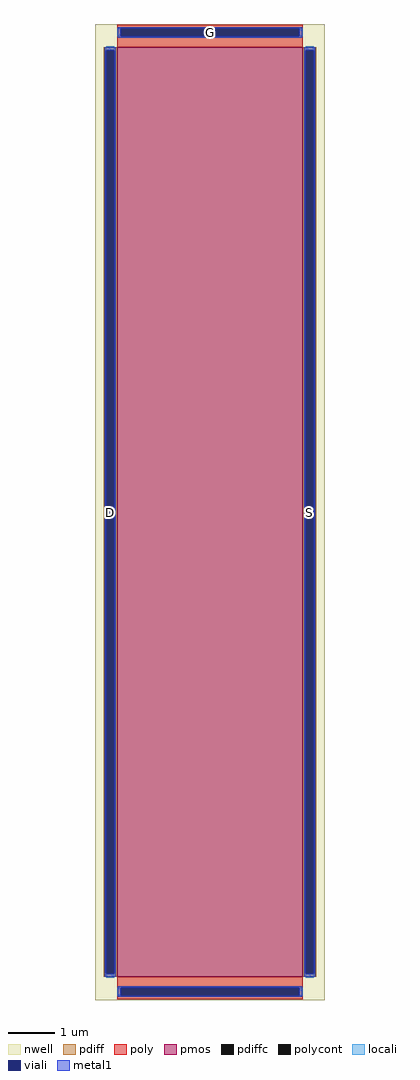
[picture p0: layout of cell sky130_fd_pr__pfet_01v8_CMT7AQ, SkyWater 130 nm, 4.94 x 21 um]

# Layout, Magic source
magic
tech sky130A
magscale 1 2
<< nwell >>
rect -494 -2100 494 2100
<< pmos >>
rect -400 -2000 400 2000
<< pdiff >>
rect -458 1988 -400 2000
rect -458 -1988 -446 1988
rect -412 -1988 -400 1988
rect -458 -2000 -400 -1988
rect 400 1988 458 2000
rect 400 -1988 412 1988
rect 446 -1988 458 1988
rect 400 -2000 458 -1988
<< pdiffc >>
rect -446 -1988 -412 1988
rect 412 -1988 446 1988
<< poly >>
rect -400 2081 400 2097
rect -400 2047 -384 2081
rect 384 2047 400 2081
rect -400 2000 400 2047
rect -400 -2047 400 -2000
rect -400 -2081 -384 -2047
rect 384 -2081 400 -2047
rect -400 -2097 400 -2081
<< polycont >>
rect -384 2047 384 2081
rect -384 -2081 384 -2047
<< locali >>
rect -400 2047 -384 2081
rect 384 2047 400 2081
rect -446 1988 -412 2004
rect -446 -2004 -412 -1988
rect 412 1988 446 2004
rect 412 -2004 446 -1988
rect -400 -2081 -384 -2047
rect 384 -2081 400 -2047
<< viali >>
rect -384 2047 384 2081
rect -446 -1988 -412 1988
rect 412 -1988 446 1988
rect -384 -2081 384 -2047
<< metal1 >>
rect -396 2081 396 2087
rect -396 2047 -384 2081
rect 384 2047 396 2081
rect -396 2041 396 2047
rect -452 1988 -406 2000
rect -452 -1988 -446 1988
rect -412 -1988 -406 1988
rect -452 -2000 -406 -1988
rect 406 1988 452 2000
rect 406 -1988 412 1988
rect 446 -1988 452 1988
rect 406 -2000 452 -1988
rect -396 -2047 396 -2041
rect -396 -2081 -384 -2047
rect 384 -2081 396 -2047
rect -396 -2087 396 -2081
<< labels >>
rlabel pdiffc -429 0 -429 0 0 D
port 1 nsew
rlabel pdiffc 429 0 429 0 0 S
port 2 nsew
rlabel polycont 0 2064 0 2064 0 G
port 3 nsew
<< properties >>
string gencell sky130_fd_pr__pfet_01v8
string library sky130
string parameters w 20 l 4 m 1 nf 1 diffcov 100 polycov 100 guard 0 glc 1 grc 1 gtc 1 gbc 1 tbcov 100 rlcov 100 topc 1 botc 1 poverlap 0 doverlap 1 lmin 0.15 wmin 0.42 class mosfet compatible {sky130_fd_pr__pfet_01v8  sky130_fd_pr__pfet_01v8_lvt sky130_fd_pr__pfet_01v8_hvt  sky130_fd_pr__pfet_g5v0d10v5} full_metal 1 conn_gates 0 viasrc 100 viadrn 100 viagate 100 viagb 0 viagr 0 viagl 0 viagt 0 doports 1
<< end >>
